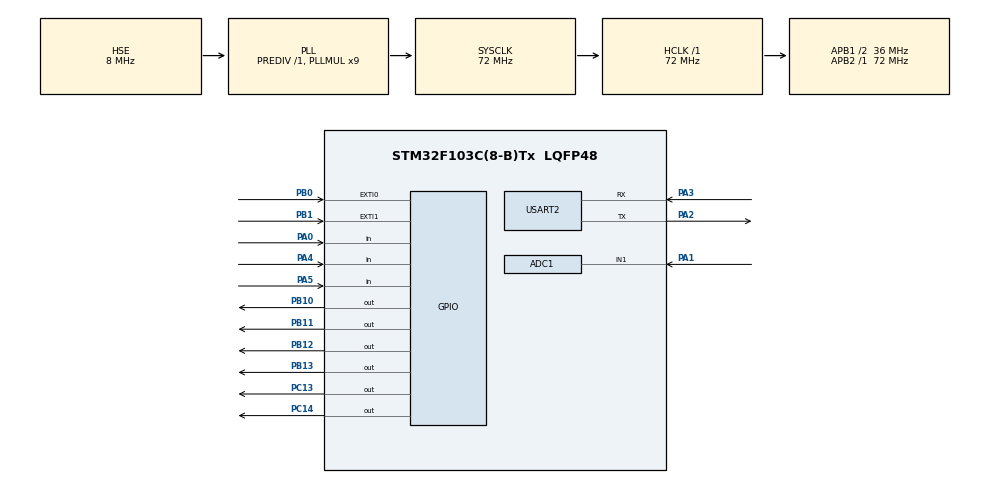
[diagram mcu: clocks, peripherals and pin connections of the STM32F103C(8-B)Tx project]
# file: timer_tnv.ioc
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ADC1.Channel-0\#ChannelRegularConversion=ADC_CHANNEL_1
ADC1.NbrOfConversionFlag=1
ADC1.Rank-0\#ChannelRegularConversion=1
ADC1.SamplingTime-0\#ChannelRegularConversion=ADC_SAMPLETIME_1CYCLE_5
ADC1.master=1
Mcu.Family=STM32F1
Mcu.Name=STM32F103C(8-B)Tx
Mcu.Package=LQFP48
NVIC.EXTI0_IRQn=true\:0\:0\:false\:false\:true\:true\:true
NVIC.EXTI1_IRQn=true\:0\:0\:false\:false\:true\:true\:true
NVIC.PriorityGroup=NVIC_PRIORITYGROUP_4
NVIC.TIM1_UP_IRQn=true\:0\:0\:false\:false\:true\:true\:true
NVIC.TIM2_IRQn=true\:0\:0\:false\:false\:true\:true\:true
NVIC.USART2_IRQn=true\:0\:0\:false\:false\:true\:true\:true
PA0-WKUP.Signal=GPIO_Input
PA1.Signal=ADCx_IN1
PA13.Mode=Serial_Wire
PA13.Signal=SYS_JTMS-SWDIO
PA14.Mode=Serial_Wire
PA14.Signal=SYS_JTCK-SWCLK
PA2.Mode=Asynchronous
PA2.Signal=USART2_TX
PA3.Mode=Asynchronous
PA3.Signal=USART2_RX
PA4.GPIO_PuPd=GPIO_PULLUP
PA4.Signal=GPIO_Input
PA5.GPIO_PuPd=GPIO_PULLUP
PA5.Signal=GPIO_Input
PB0.GPIO_ModeDefaultEXTI=GPIO_MODE_IT_FALLING
PB0.GPIO_PuPd=GPIO_PULLUP
PB0.Signal=GPXTI0
PB1.GPIO_ModeDefaultEXTI=GPIO_MODE_IT_FALLING
PB1.GPIO_PuPd=GPIO_PULLUP
PB1.Signal=GPXTI1
PB10.Signal=GPIO_Output
PB11.Signal=GPIO_Output
PB12.Signal=GPIO_Output
PB13.Signal=GPIO_Output
PC13-TAMPER-RTC.Signal=GPIO_Output
PC14-OSC32_IN.Signal=GPIO_Output
PD0-OSC_IN.Mode=HSE-External-Oscillator
PD0-OSC_IN.Signal=RCC_OSC_IN
PD1-OSC_OUT.Mode=HSE-External-Oscillator
PD1-OSC_OUT.Signal=RCC_OSC_OUT
ProjectManager.HeapSize=0x200
ProjectManager.StackSize=0x400
ProjectManager.TargetToolchain=MDK-ARM V5
RCC.ADCPresc=RCC_ADCPCLK2_DIV6
RCC.AHBFreq_Value=72000000
RCC.APB1CLKDivider=RCC_HCLK_DIV2
RCC.APB1Freq_Value=36000000
RCC.APB1TimFreq_Value=72000000
RCC.APB2Freq_Value=72000000
RCC.APB2TimFreq_Value=72000000
RCC.HCLKFreq_Value=72000000
RCC.PLLMUL=RCC_PLL_MUL9
RCC.PLLSourceVirtual=RCC_PLLSOURCE_HSE
RCC.SYSCLKFreq_VALUE=72000000
RCC.SYSCLKSource=RCC_SYSCLKSOURCE_PLLCLK
RCC.USBFreq_Value=72000000
SH.ADCx_IN1.0=ADC1_IN1,IN1
TIM1.Period=4999
TIM1.Prescaler=7200
TIM2.AutoReloadPreload=TIM_AUTORELOAD_PRELOAD_ENABLE
TIM2.Period=4999
TIM2.Prescaler=7200
USART2.VirtualMode=VM_ASYNC
VP_TIM1_VS_ClockSourceINT.Mode=Internal
VP_TIM2_VS_ClockSourceINT.Mode=Internal
board=custom

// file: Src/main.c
#include "main.h"
#include <string.h>
#include <DHT.h>
#include <cJSON.h>
#include <stdio.h>
#include <stdlib.h>

ADC_HandleTypeDef hadc1;

TIM_HandleTypeDef htim1;
TIM_HandleTypeDef htim2;

UART_HandleTypeDef huart2;

void SystemClock_Config(void);
static void MX_GPIO_Init(void);
static void MX_TIM2_Init(void);
static void MX_TIM1_Init(void);
static void MX_ADC1_Init(void);
static void MX_USART2_UART_Init(void);

/* USER CODE BEGIN 0 */

// truyen printf
#ifdef __GNUC__
	#define PUTCHAR_PROTOTYPE int __io_putchar(int ch)
#else
	#define PUTCHAR_PROTOTYPE int fputc(int ch, FILE *f)
#endif

PUTCHAR_PROTOTYPE
{
	HAL_UART_Transmit(&huart2, (uint8_t *)&ch, 1, 0xFFFF);
	return ch;
}

uint8_t start = 0;
uint8_t data[] = "HELLO";

uint8_t ND = 0;
uint8_t DA = 0;
uint8_t TB1 = 0;
uint8_t TB2 = 0;
uint8_t C1 = 30;
uint8_t ifan = 1;

uint8_t rx_data;
char rx_buffer[100];
unsigned int rx_index = 0;
DHT_DataTypedef DHT11_Data;

cJSON *str_json;

void send_data_uart(uint8_t ND, uint8_t DA, uint8_t tb1, uint8_t tb2, uint8_t c1)
{
	char JSON[100] = "";
	char Str_ND[10] = "";
	char Str_DA[10] = "";
	char Str_TB1[10] = "";
	char Str_TB2[10] = "";
	char Str_C1[10] = "";
	char Ifan[10] = "";

	sprintf(Str_ND, "%d", ND);
	sprintf(Str_DA, "%d", DA);
	sprintf(Str_TB1, "%d", tb1);
	sprintf(Str_TB2, "%d", tb2);
	sprintf(Str_C1, "%d", c1);
	sprintf(Ifan, "%d", ifan);
	// {\"TB1\":"1"}
	strcat(JSON, "{\"ND\":\"");
	strcat(JSON, Str_ND); strcat(JSON, "\",");
	strcat(JSON, "\"DA\":\"");
	strcat(JSON, Str_DA); strcat(JSON, "\",");

	strcat(JSON, "\"TB1\":\"");
	strcat(JSON, Str_TB1); strcat(JSON, "\",");
	strcat(JSON, "\"TB2\":\"");
	strcat(JSON, Str_TB2); strcat(JSON, "\",");

	strcat(JSON, "\"IFAN\":\"");
	strcat(JSON, Ifan); strcat(JSON, "\",");

	strcat(JSON, "\"C1\":\"");
	strcat(JSON, Str_C1); strcat(JSON, "\"}\n");

	//strcat(JSON, "\r\n");
	HAL_UART_Transmit(&huart2, JSON, sizeof(JSON), 10); // gui 500ms 1 lan // ,10 timeout
	//printf("data: %s", JSON);
}
void XulyJson(char *DataJson) // xu ly data nhan tu PC
{
	str_json = cJSON_Parse(DataJson);
	if(!str_json)
	{

	}
	else
	{
		if(cJSON_GetObjectItem(str_json, "TB1"))
		{
			if(strstr( cJSON_GetObjectItem(str_json, "TB1")->valuestring,"0") != NULL )
			{
				HAL_GPIO_WritePin(GPIOB, GPIO_PIN_11, GPIO_PIN_SET);
				TB1 = 0;
			}
			else if(strstr( cJSON_GetObjectItem(str_json, "TB1")->valuestring,"1") != NULL )
			{
				HAL_GPIO_WritePin(GPIOB, GPIO_PIN_11, GPIO_PIN_RESET);
				TB1 = 1;
			}
		}
		if(cJSON_GetObjectItem(str_json, "TB2")){
			//hЮm tr? v? m?t con tr? null n?u "TB2"  khТng cС trong TB2 -> valuestring.
			if(strstr( cJSON_GetObjectItem(str_json, "TB2")->valuestring,"0") != NULL )
			{
				HAL_GPIO_WritePin(GPIOB, GPIO_PIN_10, GPIO_PIN_SET);
				TB2 = 0;
			}
			else if(strstr( cJSON_GetObjectItem(str_json, "TB2")->valuestring,"1") != NULL )
			{
				HAL_GPIO_WritePin(GPIOB, GPIO_PIN_10, GPIO_PIN_RESET);
				TB2 = 1;
			}
		}

		if(cJSON_GetObjectItem(str_json, "C1"))
		{
			C1 = atoi(cJSON_GetObjectItem(str_json, "C1")->valuestring); // atoi convert string to interger
		}

	}
	cJSON_Delete(str_json); // xСa m?ng json
}
void Received(void)
{
	if (rx_data != '\n')
	{
			rx_buffer[rx_index++] = rx_data;
	}
	else
	{
		XulyJson(rx_buffer);
		rx_index = 0;
			// xoa bo dem buffer
		//printf("Data nhan: %s\n", rx_buffer);
		for (int i = 0; i < 100; i++)
		{
			rx_buffer[i] = 0;
		}
	}
}
void iFan()
{
	if(ND > C1)
	{
		HAL_GPIO_WritePin(GPIOB, GPIO_PIN_12, GPIO_PIN_RESET); // on FAN
		ifan = 1;
	}
	else {
		HAL_GPIO_WritePin(GPIOB, GPIO_PIN_12, GPIO_PIN_SET); // off FAN
		ifan = 0;
	}
}
void HAL_UART_RxCpltCallback(UART_HandleTypeDef *huart) // call back uart interrupt
{
	if (huart -> Instance == USART2){
		Received();// nhan + xu ly data
		HAL_UART_Receive_IT(&huart2, &rx_data, 1);  // nhan data uart interrupt/ 1: data size
		// uart, data, size
	}
}
void Read_dht11()
{
	DHT_GetData(&DHT11_Data);
	ND = DHT11_Data.Temperature;
	DA = DHT11_Data.Humidity;
}
void button()

{
	//// button 1
	if (HAL_GPIO_ReadPin(GPIOA, GPIO_PIN_4) == 0)
	{
		HAL_Delay(20);
		if(HAL_GPIO_ReadPin(GPIOA, GPIO_PIN_4) == 0){
			if(TB1 == 1){
					HAL_GPIO_WritePin(GPIOB, GPIO_PIN_10, GPIO_PIN_SET);
					TB1 = 0;
			}
			else if (TB1 == 0){
					HAL_GPIO_WritePin(GPIOB, GPIO_PIN_10, GPIO_PIN_RESET);
					TB1 = 1;
			}
		}
		while(HAL_GPIO_ReadPin(GPIOA, GPIO_PIN_4) == 0);
	}
	//// button 2
	if (HAL_GPIO_ReadPin(GPIOA, GPIO_PIN_5) == 0)
	{
		HAL_Delay(20);
		if(HAL_GPIO_ReadPin(GPIOA, GPIO_PIN_5) == 0){
			if(TB2 == 1){
					HAL_GPIO_WritePin(GPIOB, GPIO_PIN_11, GPIO_PIN_SET);
					TB2 = 0;
			}
			else if (TB2 == 0){
					HAL_GPIO_WritePin(GPIOB, GPIO_PIN_11, GPIO_PIN_RESET);
					TB2 = 1;
			}
		}
		while(HAL_GPIO_ReadPin(GPIOA, GPIO_PIN_5) == 0);
	}
}
/* USER CODE END 0 */

int main(void)
{

  HAL_Init();

  SystemClock_Config();

  MX_GPIO_Init();
  MX_TIM2_Init();
  MX_TIM1_Init();
  MX_ADC1_Init();
  MX_USART2_UART_Init();
  /* USER CODE BEGIN 2 */
	HAL_TIM_Base_Start_IT(&htim2); /// bat ngat interrupt timer 2
	HAL_TIM_Base_Start_IT(&htim1); /// bat ngat init timer 1

	HAL_UART_Receive_IT(&huart2, &rx_data, 1); // nhan data uart
	// uart, rxdata, 1 byte data
  /* USER CODE END 2 */
	HAL_GPIO_WritePin(GPIOB, GPIO_PIN_12, GPIO_PIN_SET);
	HAL_GPIO_WritePin(GPIOB, GPIO_PIN_13, GPIO_PIN_SET);
	HAL_GPIO_WritePin(GPIOB, GPIO_PIN_10, GPIO_PIN_SET);
	HAL_GPIO_WritePin(GPIOB, GPIO_PIN_11, GPIO_PIN_SET);
  while (1)
  {

    /* USER CODE BEGIN 3 */
		if(start == 1){
			button();
			iFan();
		}

  }
  /* USER CODE END 3 */
}

void SystemClock_Config(void)
{
  RCC_OscInitTypeDef RCC_OscInitStruct = {0};
  RCC_ClkInitTypeDef RCC_ClkInitStruct = {0};
  RCC_PeriphCLKInitTypeDef PeriphClkInit = {0};

  /** Initializes the CPU, AHB and APB busses clocks
  */
  RCC_OscInitStruct.OscillatorType = RCC_OSCILLATORTYPE_HSE;
  RCC_OscInitStruct.HSEState = RCC_HSE_ON;
  RCC_OscInitStruct.HSEPredivValue = RCC_HSE_PREDIV_DIV1;
  RCC_OscInitStruct.HSIState = RCC_HSI_ON;
  RCC_OscInitStruct.PLL.PLLState = RCC_PLL_ON;
  RCC_OscInitStruct.PLL.PLLSource = RCC_PLLSOURCE_HSE;
  RCC_OscInitStruct.PLL.PLLMUL = RCC_PLL_MUL9;
  if (HAL_RCC_OscConfig(&RCC_OscInitStruct) != HAL_OK)
  {
    Error_Handler();
  }
  /** Initializes the CPU, AHB and APB busses clocks
  */
  RCC_ClkInitStruct.ClockType = RCC_CLOCKTYPE_HCLK|RCC_CLOCKTYPE_SYSCLK
                              |RCC_CLOCKTYPE_PCLK1|RCC_CLOCKTYPE_PCLK2;
  RCC_ClkInitStruct.SYSCLKSource = RCC_SYSCLKSOURCE_PLLCLK;
  RCC_ClkInitStruct.AHBCLKDivider = RCC_SYSCLK_DIV1;
  RCC_ClkInitStruct.APB1CLKDivider = RCC_HCLK_DIV2;
  RCC_ClkInitStruct.APB2CLKDivider = RCC_HCLK_DIV1;

  if (HAL_RCC_ClockConfig(&RCC_ClkInitStruct, FLASH_LATENCY_2) != HAL_OK)
  {
    Error_Handler();
  }
  PeriphClkInit.PeriphClockSelection = RCC_PERIPHCLK_ADC;
  PeriphClkInit.AdcClockSelection = RCC_ADCPCLK2_DIV6;
  if (HAL_RCCEx_PeriphCLKConfig(&PeriphClkInit) != HAL_OK)
  {
    Error_Handler();
  }
}

static void MX_ADC1_Init(void)
{

  ADC_ChannelConfTypeDef sConfig = {0};

  /** Common config
  */
  hadc1.Instance = ADC1;
  hadc1.Init.ScanConvMode = ADC_SCAN_DISABLE;
  hadc1.Init.ContinuousConvMode = DISABLE;
  hadc1.Init.DiscontinuousConvMode = DISABLE;
  hadc1.Init.ExternalTrigConv = ADC_SOFTWARE_START;
  hadc1.Init.DataAlign = ADC_DATAALIGN_RIGHT;
  hadc1.Init.NbrOfConversion = 1;
  if (HAL_ADC_Init(&hadc1) != HAL_OK)
  {
    Error_Handler();
  }
  /** Configure Regular Channel
  */
  sConfig.Channel = ADC_CHANNEL_1;
  sConfig.Rank = ADC_REGULAR_RANK_1;
  sConfig.SamplingTime = ADC_SAMPLETIME_1CYCLE_5;
  if (HAL_ADC_ConfigChannel(&hadc1, &sConfig) != HAL_OK)
  {
    Error_Handler();
  }

}

static void MX_TIM1_Init(void)
{

  TIM_ClockConfigTypeDef sClockSourceConfig = {0};
  TIM_MasterConfigTypeDef sMasterConfig = {0};

  htim1.Instance = TIM1;
  htim1.Init.Prescaler = 7200;
  htim1.Init.CounterMode = TIM_COUNTERMODE_UP;
  htim1.Init.Period = 11999;
  htim1.Init.ClockDivision = TIM_CLOCKDIVISION_DIV1;
  htim1.Init.RepetitionCounter = 0;
  htim1.Init.AutoReloadPreload = TIM_AUTORELOAD_PRELOAD_DISABLE;
  if (HAL_TIM_Base_Init(&htim1) != HAL_OK)
  {
    Error_Handler();
  }
  sClockSourceConfig.ClockSource = TIM_CLOCKSOURCE_INTERNAL;
  if (HAL_TIM_ConfigClockSource(&htim1, &sClockSourceConfig) != HAL_OK)
  {
    Error_Handler();
  }
  sMasterConfig.MasterOutputTrigger = TIM_TRGO_RESET;
  sMasterConfig.MasterSlaveMode = TIM_MASTERSLAVEMODE_DISABLE;
  if (HAL_TIMEx_MasterConfigSynchronization(&htim1, &sMasterConfig) != HAL_OK)
  {
    Error_Handler();
  }
  /* USER CODE BEGIN TIM1_Init 2 */
/// TIMER READ dht11
  /* USER CODE END TIM1_Init 2 */

}

static void MX_TIM2_Init(void)
{

  TIM_ClockConfigTypeDef sClockSourceConfig = {0};
  TIM_MasterConfigTypeDef sMasterConfig = {0};

  htim2.Instance = TIM2;
  htim2.Init.Prescaler = 7200;
  htim2.Init.CounterMode = TIM_COUNTERMODE_UP;
  htim2.Init.Period = 4999;
  htim2.Init.ClockDivision = TIM_CLOCKDIVISION_DIV1;
  htim2.Init.AutoReloadPreload = TIM_AUTORELOAD_PRELOAD_ENABLE;
  if (HAL_TIM_Base_Init(&htim2) != HAL_OK)
  {
    Error_Handler();
  }
  sClockSourceConfig.ClockSource = TIM_CLOCKSOURCE_INTERNAL;
  if (HAL_TIM_ConfigClockSource(&htim2, &sClockSourceConfig) != HAL_OK)
  {
    Error_Handler();
  }
  sMasterConfig.MasterOutputTrigger = TIM_TRGO_RESET;
  sMasterConfig.MasterSlaveMode = TIM_MASTERSLAVEMODE_DISABLE;
  if (HAL_TIMEx_MasterConfigSynchronization(&htim2, &sMasterConfig) != HAL_OK)
  {
    Error_Handler();
  }

}

static void MX_USART2_UART_Init(void)
{

  huart2.Instance = USART2;
  huart2.Init.BaudRate = 115200;
  huart2.Init.WordLength = UART_WORDLENGTH_8B;
  huart2.Init.StopBits = UART_STOPBITS_1;
  huart2.Init.Parity = UART_PARITY_NONE;
  huart2.Init.Mode = UART_MODE_TX_RX;
  huart2.Init.HwFlowCtl = UART_HWCONTROL_NONE;
  huart2.Init.OverSampling = UART_OVERSAMPLING_16;
  if (HAL_UART_Init(&huart2) != HAL_OK)
  {
    Error_Handler();
  }

}

static void MX_GPIO_Init(void)
{
  GPIO_InitTypeDef GPIO_InitStruct = {0};

  /* GPIO Ports Clock Enable */
  __HAL_RCC_GPIOC_CLK_ENABLE();
  __HAL_RCC_GPIOD_CLK_ENABLE();
  __HAL_RCC_GPIOA_CLK_ENABLE();
  __HAL_RCC_GPIOB_CLK_ENABLE();

  /*Configure GPIO pin Output Level */
  HAL_GPIO_WritePin(GPIOC, GPIO_PIN_13|GPIO_PIN_14, GPIO_PIN_RESET);

  /*Configure GPIO pin Output Level */
  HAL_GPIO_WritePin(GPIOB, GPIO_PIN_10|GPIO_PIN_11|GPIO_PIN_12|GPIO_PIN_13, GPIO_PIN_RESET);

  /*Configure GPIO pins : PC13 PC14 */
  GPIO_InitStruct.Pin = GPIO_PIN_13|GPIO_PIN_14;
  GPIO_InitStruct.Mode = GPIO_MODE_OUTPUT_PP;
  GPIO_InitStruct.Pull = GPIO_NOPULL;
  GPIO_InitStruct.Speed = GPIO_SPEED_FREQ_LOW;
  HAL_GPIO_Init(GPIOC, &GPIO_InitStruct);

  /*Configure GPIO pin : PC15 */
  GPIO_InitStruct.Pin = GPIO_PIN_15;
  GPIO_InitStruct.Mode = GPIO_MODE_ANALOG;
  HAL_GPIO_Init(GPIOC, &GPIO_InitStruct);

  /*Configure GPIO pin : PA0 */
  GPIO_InitStruct.Pin = GPIO_PIN_0;
  GPIO_InitStruct.Mode = GPIO_MODE_INPUT;
  GPIO_InitStruct.Pull = GPIO_NOPULL;
  HAL_GPIO_Init(GPIOA, &GPIO_InitStruct);

  /*Configure GPIO pins : PA4 PA5 */
  GPIO_InitStruct.Pin = GPIO_PIN_4|GPIO_PIN_5;
  GPIO_InitStruct.Mode = GPIO_MODE_INPUT;
  GPIO_InitStruct.Pull = GPIO_PULLUP;
  HAL_GPIO_Init(GPIOA, &GPIO_InitStruct);

  /*Configure GPIO pins : PA6 PA7 PA8 PA9
                           PA10 PA11 PA12 PA15 */
  GPIO_InitStruct.Pin = GPIO_PIN_6|GPIO_PIN_7|GPIO_PIN_8|GPIO_PIN_9
                          |GPIO_PIN_10|GPIO_PIN_11|GPIO_PIN_12|GPIO_PIN_15;
  GPIO_InitStruct.Mode = GPIO_MODE_ANALOG;
  HAL_GPIO_Init(GPIOA, &GPIO_InitStruct);

  /*Configure GPIO pins : PB0 PB1 */
  GPIO_InitStruct.Pin = GPIO_PIN_0|GPIO_PIN_1;
  GPIO_InitStruct.Mode = GPIO_MODE_IT_FALLING;
  GPIO_InitStruct.Pull = GPIO_PULLUP;
  HAL_GPIO_Init(GPIOB, &GPIO_InitStruct);

  /*Configure GPIO pins : PB2 PB14 PB15 PB3
                           PB4 PB5 PB6 PB7
                           PB8 PB9 */
  GPIO_InitStruct.Pin = GPIO_PIN_2|GPIO_PIN_14|GPIO_PIN_15|GPIO_PIN_3
                          |GPIO_PIN_4|GPIO_PIN_5|GPIO_PIN_6|GPIO_PIN_7
                          |GPIO_PIN_8|GPIO_PIN_9;
  GPIO_InitStruct.Mode = GPIO_MODE_ANALOG;
  HAL_GPIO_Init(GPIOB, &GPIO_InitStruct);

  /*Configure GPIO pins : PB10 PB11 PB12 PB13 */
  GPIO_InitStruct.Pin = GPIO_PIN_10|GPIO_PIN_11|GPIO_PIN_12|GPIO_PIN_13;
  GPIO_InitStruct.Mode = GPIO_MODE_OUTPUT_PP;
  GPIO_InitStruct.Pull = GPIO_NOPULL;
  GPIO_InitStruct.Speed = GPIO_SPEED_FREQ_LOW;
  HAL_GPIO_Init(GPIOB, &GPIO_InitStruct);

  /* EXTI interrupt init*/
  HAL_NVIC_SetPriority(EXTI0_IRQn, 0, 0);
  HAL_NVIC_EnableIRQ(EXTI0_IRQn);

  HAL_NVIC_SetPriority(EXTI1_IRQn, 0, 0);
  HAL_NVIC_EnableIRQ(EXTI1_IRQn);

}

/* USER CODE BEGIN 4 */
void HAL_TIM_PeriodElapsedCallback(TIM_HandleTypeDef *htim) // call back interupt timer
{
	if(htim->Instance == htim2.Instance && start == 1){
		HAL_GPIO_TogglePin(GPIOC, GPIO_PIN_13);
		send_data_uart(ND, DA, TB1, TB2, C1);
	}
	if(htim->Instance == htim1.Instance && start == 1){
		HAL_GPIO_TogglePin(GPIOC, GPIO_PIN_14);
		Read_dht11(); // timer 1 read DHT11.
	}
}
void EXTI0_IRQHandler(void)// start
{

  HAL_GPIO_EXTI_IRQHandler(GPIO_PIN_0);
  /* USER CODE BEGIN EXTI0_IRQn 1 */
	start = 1;
  /* USER CODE END EXTI0_IRQn 1 */
}

void EXTI1_IRQHandler(void)// stop
{
  HAL_GPIO_EXTI_IRQHandler(GPIO_PIN_1);
  /* USER CODE BEGIN EXTI1_IRQn 1 */
	start = 0;
	HAL_GPIO_WritePin(GPIOC, GPIO_PIN_13, GPIO_PIN_RESET); // on led
  /* USER CODE END EXTI1_IRQn 1 */
}
/* USER CODE END 4 */

void Error_Handler(void)
{
}

/************************ (C) COPYRIGHT STMicroelectronics *****END OF FILE****/
